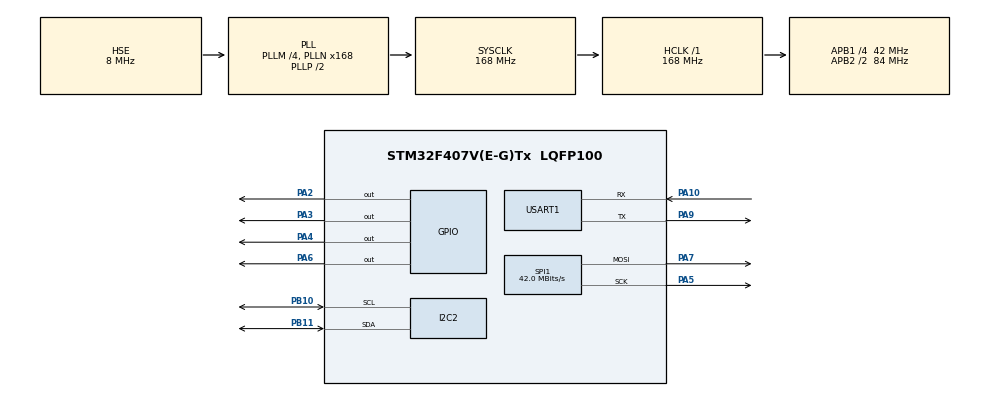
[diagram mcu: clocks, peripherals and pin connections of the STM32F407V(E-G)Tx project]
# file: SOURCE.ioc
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Dma.Request0=SPI1_TX
Dma.SPI1_TX.0.Direction=DMA_MEMORY_TO_PERIPH
Dma.SPI1_TX.0.FIFOMode=DMA_FIFOMODE_DISABLE
Dma.SPI1_TX.0.Instance=DMA2_Stream3
Dma.SPI1_TX.0.MemDataAlignment=DMA_MDATAALIGN_BYTE
Dma.SPI1_TX.0.MemInc=DMA_MINC_ENABLE
Dma.SPI1_TX.0.Mode=DMA_NORMAL
Dma.SPI1_TX.0.PeriphDataAlignment=DMA_PDATAALIGN_BYTE
Dma.SPI1_TX.0.PeriphInc=DMA_PINC_DISABLE
Dma.SPI1_TX.0.Priority=DMA_PRIORITY_LOW
I2C2.I2C_Mode=I2C_Fast
Mcu.Family=STM32F4
Mcu.Name=STM32F407V(E-G)Tx
Mcu.Package=LQFP100
NVIC.DMA2_Stream3_IRQn=true\:0\:0\:false\:false\:true\:false\:true\:true
NVIC.PriorityGroup=NVIC_PRIORITYGROUP_4
NVIC.USART1_IRQn=true\:0\:0\:false\:false\:true\:true\:true\:true
PA10.Mode=Asynchronous
PA10.Signal=USART1_RX
PA2.PinState=GPIO_PIN_SET
PA2.Signal=GPIO_Output
PA3.Signal=GPIO_Output
PA4.Signal=GPIO_Output
PA5.Mode=TX_Only_Simplex_Unidirect_Master
PA5.Signal=SPI1_SCK
PA6.Signal=GPIO_Output
PA7.Mode=TX_Only_Simplex_Unidirect_Master
PA7.Signal=SPI1_MOSI
PA9.Mode=Asynchronous
PA9.Signal=USART1_TX
PB10.Mode=I2C
PB10.Signal=I2C2_SCL
PB11.Mode=I2C
PB11.Signal=I2C2_SDA
PH0-OSC_IN.Mode=HSE-External-Oscillator
PH0-OSC_IN.Signal=RCC_OSC_IN
PH1-OSC_OUT.Mode=HSE-External-Oscillator
PH1-OSC_OUT.Signal=RCC_OSC_OUT
ProjectManager.HeapSize=0x2000
ProjectManager.StackSize=0x400
ProjectManager.TargetToolchain=MDK-ARM V5
RCC.48MHZClocksFreq_Value=84000000
RCC.AHBFreq_Value=168000000
RCC.APB1CLKDivider=RCC_HCLK_DIV4
RCC.APB1Freq_Value=42000000
RCC.APB1TimFreq_Value=84000000
RCC.APB2CLKDivider=RCC_HCLK_DIV2
RCC.APB2Freq_Value=84000000
RCC.APB2TimFreq_Value=168000000
RCC.CortexFreq_Value=168000000
RCC.HCLKFreq_Value=168000000
RCC.HSE_VALUE=8000000
RCC.HSI_VALUE=16000000
RCC.LSE_VALUE=32768
RCC.PLLM=4
RCC.PLLN=168
RCC.PLLSourceVirtual=RCC_PLLSOURCE_HSE
RCC.SYSCLKFreq_VALUE=168000000
RCC.SYSCLKSource=RCC_SYSCLKSOURCE_PLLCLK
RCC.VCOOutputFreq_Value=336000000
SPI1.CalculateBaudRate=42.0 MBits/s
SPI1.Direction=SPI_DIRECTION_2LINES
SPI1.Mode=SPI_MODE_MASTER
SPI1.VirtualType=VM_MASTER
USART1.VirtualMode=VM_ASYNC
board=custom

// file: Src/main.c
/* USER CODE BEGIN Header */
/**
  ******************************************************************************
  * @file           : main.c
  * @brief          : Main program body
  ******************************************************************************
  * @attention
  *
  * Copyright (c) 2025 STMicroelectronics.
  * All rights reserved.
  *
  * This software is licensed under terms that can be found in the LICENSE file
  * in the root directory of this software component.
  * If no LICENSE file comes with this software, it is provided AS-IS.
  *
  ******************************************************************************
  */
/* USER CODE END Header */
#include "main.h"
#include "dma.h"
#include "i2c.h"
#include "spi.h"
#include "usart.h"
#include "gpio.h"

/* USER CODE BEGIN Includes */
#include "st7735.h"
#include "testimg.h"
#include "MLX90640_API.h"
#include "MLX90640_I2C_Driver.h"
#include "miao_st7735_mlx90640.h"
#include "model.h"
#include "micro_temp_net_weights.h"
/* USER CODE END Includes */

/* USER CODE BEGIN PD */
#define INPUT_MEAN 27.1f
#define INPUT_STD  1.86f
/* USER CODE END PD */

/* USER CODE BEGIN PV */
char send[20] = {0}; //传输用字符数组，储存字符串

uint8_t rx_buffer = 0; //接收字符缓冲区

char rx_receiver[20] = {0}; //接收用字符数组

uint8_t rx_num = 0; //接收字符数量

uint8_t  uart_start_flag = 0; //接收标志位

__IO  uint32_t uart_gettick = 0; //系统时钟比较变量

uint16_t print_counter = 0;

MicroTempNet CNNmodel;

extern float tempValues[32*24];

char tempbuffer[3] = {0};

float input[1 * 32 * 24] = { 0 };
/* USER CODE END PV */

void SystemClock_Config(void);
/* USER CODE BEGIN PFP */
void UART_RX_PROC(void);

void CNN_PROC(void);

void z_score_normalize(float* input, int size);
/* USER CODE END PFP */

int main(void)
{

  /* MCU Configuration--------------------------------------------------------*/

  /* Reset of all peripherals, Initializes the Flash interface and the Systick. */
  HAL_Init();

  /* Configure the system clock */
  SystemClock_Config();

  /* Initialize all configured peripherals */
  MX_GPIO_Init();
  MX_DMA_Init();
  MX_SPI1_Init();
  MX_USART1_UART_Init();
  MX_I2C2_Init();
  /* USER CODE BEGIN 2 */
  ST7735_Init();
  ST7735_FillScreen(ST7735_BLACK);
  //MLX90640_I2CInit();
  //ST7735_Init();
  mlx90640_display_init();

  HAL_UART_Receive_IT(&huart1 , &rx_buffer,  1);
//  ST7735_FillScreen(ST7735_CYAN);
 // initialization
  micro_temp_net_init(&CNNmodel,
					conv1_weight, conv1_bias,
					conv2_weight, conv2_bias,
					fc1_weight, fc2_bias,
					fc2_weight, fc2_bias);
  //ST7735_DrawImage8bit_Img2LCD(0,0,128,128,(uint8_t*)gImage_tower);

  /* USER CODE END 2 */

  /* Infinite loop */
  while (1)
  {

    /* USER CODE BEGIN 3 */
	 mlx90640_display_process();

	 //mlx90640_print_color_16bit();
	  //UART_RX_PROC();

	  CNN_PROC();
	 //HAL_Delay(100);
	  	// ST7735_FillScreen(ST7735_BLACK);
   //mlx90640_print_color_16bit();

   //printf("test ok \r\n");

   //HAL_Delay(500);
  }
  /* USER CODE END 3 */
}

void SystemClock_Config(void)
{
  RCC_OscInitTypeDef RCC_OscInitStruct = {0};
  RCC_ClkInitTypeDef RCC_ClkInitStruct = {0};

  /** Configure the main internal regulator output voltage
  */
  __HAL_RCC_PWR_CLK_ENABLE();
  __HAL_PWR_VOLTAGESCALING_CONFIG(PWR_REGULATOR_VOLTAGE_SCALE1);

  /** Initializes the RCC Oscillators according to the specified parameters
  * in the RCC_OscInitTypeDef structure.
  */
  RCC_OscInitStruct.OscillatorType = RCC_OSCILLATORTYPE_HSE;
  RCC_OscInitStruct.HSEState = RCC_HSE_ON;
  RCC_OscInitStruct.PLL.PLLState = RCC_PLL_ON;
  RCC_OscInitStruct.PLL.PLLSource = RCC_PLLSOURCE_HSE;
  RCC_OscInitStruct.PLL.PLLM = 4;
  RCC_OscInitStruct.PLL.PLLN = 168;
  RCC_OscInitStruct.PLL.PLLP = RCC_PLLP_DIV2;
  RCC_OscInitStruct.PLL.PLLQ = 4;
  if (HAL_RCC_OscConfig(&RCC_OscInitStruct) != HAL_OK)
  {
    Error_Handler();
  }

  /** Initializes the CPU, AHB and APB buses clocks
  */
  RCC_ClkInitStruct.ClockType = RCC_CLOCKTYPE_HCLK|RCC_CLOCKTYPE_SYSCLK
                              |RCC_CLOCKTYPE_PCLK1|RCC_CLOCKTYPE_PCLK2;
  RCC_ClkInitStruct.SYSCLKSource = RCC_SYSCLKSOURCE_PLLCLK;
  RCC_ClkInitStruct.AHBCLKDivider = RCC_SYSCLK_DIV1;
  RCC_ClkInitStruct.APB1CLKDivider = RCC_HCLK_DIV4;
  RCC_ClkInitStruct.APB2CLKDivider = RCC_HCLK_DIV2;

  if (HAL_RCC_ClockConfig(&RCC_ClkInitStruct, FLASH_LATENCY_5) != HAL_OK)
  {
    Error_Handler();
  }
}

/* USER CODE BEGIN 4 */
void UART_RX_PROC(void)
{
    if((( uwTick- uart_gettick ) >=10) && (( uwTick- uart_gettick ) <=600) && (uart_start_flag == 1)){
    if(rx_receiver[0] == '&' ){
		if(print_counter < 50){
	      mlx90640_print_color_16bit();
		  print_counter++;
		}
		else{
		printf("test over \r\n");
		}

  }
    //printf("receiver check \r\n");
    rx_num = 0;
    uart_start_flag = 0;
}

}

void HAL_UART_RxCpltCallback(UART_HandleTypeDef *huart)
{
  if(rx_num == 0){
  uart_gettick = uwTick;
  uart_start_flag = 1;
  }
  if(uart_start_flag == 1){
  rx_receiver[rx_num] = rx_buffer;
  rx_num++;
  }
  HAL_UART_Receive_IT(&huart1 , &rx_buffer,  1);
}

void CNN_PROC(void){

	//input
    for (int y = 0; y < 24; y++) {
        for (int x = 0; x < 32; x++){
			input[y * 32 + x] =  tempValues[(31- x) + (y * 32)];
        }
    }
	z_score_normalize(input,768);

    // airun
    float output[NUM_CLASSES];
    micro_temp_net_predict(&CNNmodel, input, output);

    // postproc
    int predicted_class = 0;
    float max_prob = output[0];
    for (int i = 1; i < NUM_CLASSES; i++) {
        if (output[i] > max_prob) {
            max_prob = output[i];
            predicted_class = i;
        }
    }
	predicted_class += 1;
	sprintf(tempbuffer, "%d " , predicted_class);
	ST7735_WriteString(65, 115, tempbuffer, Font_7x10, ST7735_WHITE, ST7735_BLACK);

}

void z_score_normalize(float* input, int size) {
    for (int i = 0; i < size; i++) {
        input[i] = (input[i] - INPUT_MEAN) / INPUT_STD;
    }
}
/* USER CODE END 4 */

void Error_Handler(void)
{
  __disable_irq();
  while (1)
  {
  }
}
